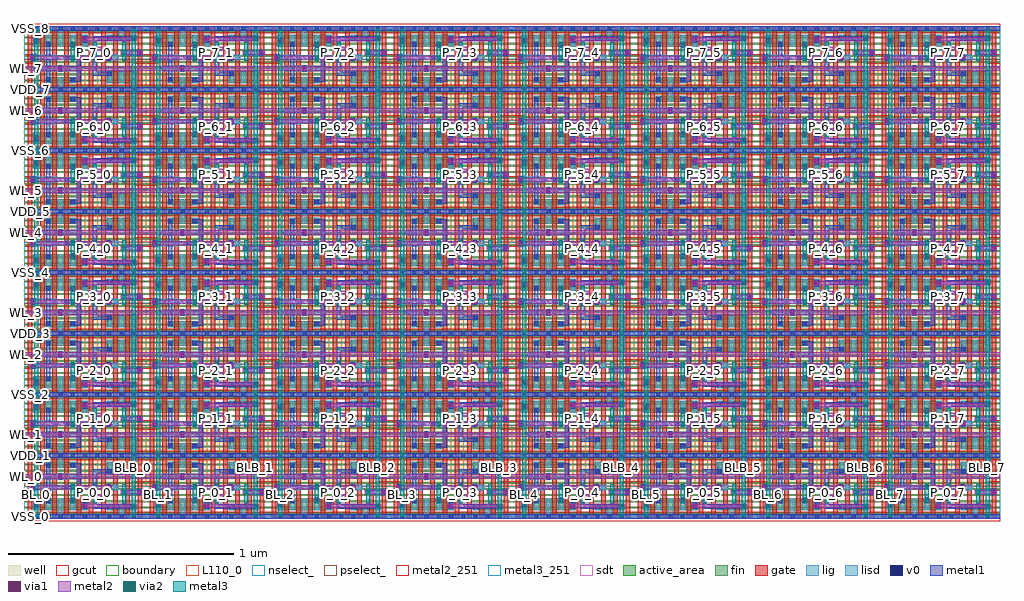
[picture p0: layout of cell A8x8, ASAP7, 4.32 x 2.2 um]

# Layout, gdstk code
from math import pi, radians
import gdstk
lib = gdstk.Library(unit=1e-6, precision=2.5e-10)
def R(c, l, rs):  # rectangles x0, y0, x1, y1
    for r in rs: c.add(gdstk.rectangle(r[:2], r[2:], *l))
def A(c, l, x, y, w, h, nx, ny, dx, dy):  # array of equal rectangles
    R(c, l, [(x+i*dx, y+j*dy, x+i*dx+w, y+j*dy+h) for i in range(nx) for j in range(ny)])
well = (1, 0)
fin = (2, 0)
gate = (7, 0)
gcut = (10, 0)
active_area = (11, 0)
nselect_ = (12, 0)
pselect_ = (13, 0)
lig = (16, 0)
lisd = (17, 0)
v0 = (18, 0)
metal1 = (19, 0)
metal2 = (20, 0)
metal2_251 = (20, 251)
via1 = (21, 0)
via2 = (25, 0)
metal3 = (30, 0)
metal3_251 = (30, 251)
sdt = (88, 0)
boundary = (100, 0)
L110_0 = (110, 0)

via = lib.new_cell('via')
R(via, lig, [(-0.01,-0.011,0.01,0.011)])
R(via, v0, [(-0.009,-0.009,0.009,0.009)])
R(via, metal1, [(-0.009,-0.011,0.009,0.011)])

via_1 = lib.new_cell('via$1')
R(via_1, lisd, [(-0.012,-0.009,0.012,0.009)])
R(via_1, v0, [(-0.009,-0.009,0.009,0.009)])
R(via_1, metal1, [(-0.009,-0.011,0.009,0.011)])

via_2 = lib.new_cell('via$2')
R(via_2, lisd, [(-0.012,-0.009,0.012,0.009)])
R(via_2, v0, [(-0.009,-0.009,0.009,0.009)])
R(via_2, metal1, [(-0.009,-0.014,0.009,0.014), (-0.009,-0.011,0.009,0.011)])
R(via_2, metal2, [(-0.014,-0.009,0.014,0.009)])
R(via_2, via1, [(-0.009,-0.009,0.009,0.009)])

via_4 = lib.new_cell('via$4')
R(via_4, metal1, [(-0.009,-0.014,0.009,0.014)])
R(via_4, metal2, [(-0.014,-0.009,0.014,0.009)])
R(via_4, via1, [(-0.009,-0.009,0.009,0.009)])

via_5 = lib.new_cell('via$5')
R(via_5, metal2, [(-0.014,-0.009,0.014,0.009)])
R(via_5, via2, [(-0.009,-0.009,0.009,0.009)])
R(via_5, metal3, [(-0.009,-0.014,0.009,0.014)])

via_6 = lib.new_cell('via$6')
R(via_6, lisd, [(-0.012,-0.009,0.012,0.009)])
R(via_6, v0, [(-0.009,-0.009,0.009,0.009)])
R(via_6, metal1, [(-0.009,-0.014,0.009,0.014), (-0.009,-0.011,0.009,0.011)])
R(via_6, metal2, [(-0.014,-0.009,0.014,0.009), (-0.014,-0.009,0.014,0.009)])
R(via_6, via1, [(-0.009,-0.009,0.009,0.009)])
R(via_6, via2, [(-0.009,-0.009,0.009,0.009)])
R(via_6, metal3, [(-0.009,-0.014,0.009,0.014)])

via_7 = lib.new_cell('via$7')
R(via_7, metal1, [(-0.009,-0.014,0.009,0.014)])
R(via_7, metal2, [(-0.014,-0.009,0.014,0.009), (-0.014,-0.009,0.014,0.009)])
R(via_7, via1, [(-0.009,-0.009,0.009,0.009)])
R(via_7, via2, [(-0.009,-0.009,0.009,0.009)])
R(via_7, metal3, [(-0.009,-0.014,0.009,0.014)])

nmos = lib.new_cell('nmos')
R(nmos, fin, [(0,0.037,0.162,0.044), (0,0.064,0.162,0.071)])
R(nmos, gate, [(0.071,-0.005,0.091,0.135)])
R(nmos, active_area, [(0.042,0.027,0.12,0.081)])
R(nmos, nselect_, [(0,0,0.162,0.135)])
R(nmos, lisd, [(0.042,0.027,0.066,0.081), (0.096,0.027,0.12,0.081)])
R(nmos, sdt, [(0.042,0.027,0.066,0.081), (0.096,0.027,0.12,0.081)])
R(nmos, L110_0, [(0,0,0.162,0.135)])

pmos = lib.new_cell('pmos')
R(pmos, well, [(0,0.135,0.162,0.27)])
R(pmos, fin, [(0,0.226,0.162,0.233)])
R(pmos, gate, [(0.071,0.135,0.091,0.275), (0.125,0.135,0.145,0.275)])
R(pmos, active_area, [(0.042,0.216,0.116,0.243)])
R(pmos, pselect_, [(0,0.135,0.162,0.27)])
R(pmos, lisd, [(0.042,0.216,0.066,0.243), (0.096,0.216,0.12,0.243)])
R(pmos, sdt, [(0.042,0.216,0.066,0.243), (0.096,0.216,0.12,0.243)])
R(pmos, L110_0, [(0,0.135,0.162,0.27)])

nmos_7 = lib.new_cell('nmos$7')
R(nmos_7, fin, [(0,0.037,0.162,0.044), (0,0.064,0.162,0.071)])
R(nmos_7, gate, [(0.017,-0.005,0.037,0.135), (0.071,-0.005,0.091,0.135)])
R(nmos_7, active_area, [(0.046,0.027,0.12,0.081)])
R(nmos_7, nselect_, [(0,0,0.162,0.135)])
R(nmos_7, lisd, [(0.042,0.027,0.066,0.081), (0.096,0.027,0.12,0.081)])
R(nmos_7, sdt, [(0.042,0.027,0.066,0.081), (0.096,0.027,0.12,0.081)])
R(nmos_7, L110_0, [(0,0,0.162,0.135)])

nmos_8 = lib.new_cell('nmos$8')
R(nmos_8, fin, [(0,0.037,0.162,0.044), (0,0.064,0.162,0.071)])
R(nmos_8, gate, [(0.071,-0.005,0.091,0.135), (0.125,-0.005,0.145,0.135)])
R(nmos_8, active_area, [(0.042,0.027,0.116,0.081)])
R(nmos_8, nselect_, [(0,0,0.162,0.135)])
R(nmos_8, lisd, [(0.042,0.027,0.066,0.081), (0.096,0.027,0.12,0.081)])
R(nmos_8, sdt, [(0.042,0.027,0.066,0.081), (0.096,0.027,0.12,0.081)])
R(nmos_8, L110_0, [(0,0,0.162,0.135)])

nmos_9 = lib.new_cell('nmos$9')
R(nmos_9, fin, [(0,0.037,0.162,0.044)])
R(nmos_9, gate, [(0.071,-0.005,0.091,0.135), (0.125,-0.005,0.145,0.135)])
R(nmos_9, active_area, [(0.042,0.027,0.116,0.054)])
R(nmos_9, nselect_, [(0,0,0.162,0.135)])
R(nmos_9, lisd, [(0.042,0.027,0.066,0.054), (0.096,0.027,0.12,0.054)])
R(nmos_9, sdt, [(0.042,0.027,0.066,0.054), (0.096,0.027,0.12,0.054)])
R(nmos_9, L110_0, [(0,0,0.162,0.135)])

pmos_6 = lib.new_cell('pmos$6')
R(pmos_6, well, [(0,0.135,0.162,0.27)])
R(pmos_6, fin, [(0,0.199,0.162,0.206), (0,0.226,0.162,0.233)])
R(pmos_6, gate, [(0.071,0.135,0.091,0.275), (0.125,0.135,0.145,0.275)])
R(pmos_6, active_area, [(0.042,0.189,0.116,0.243)])
R(pmos_6, pselect_, [(0,0.135,0.162,0.27)])
R(pmos_6, lisd, [(0.042,0.189,0.066,0.243), (0.096,0.189,0.12,0.243)])
R(pmos_6, sdt, [(0.042,0.189,0.066,0.243), (0.096,0.189,0.12,0.243)])
R(pmos_6, L110_0, [(0,0.135,0.162,0.27)])

pmos_7 = lib.new_cell('pmos$7')
R(pmos_7, well, [(0,0.135,0.162,0.27)])
R(pmos_7, fin, [(0,0.199,0.162,0.206), (0,0.226,0.162,0.233)])
R(pmos_7, gate, [(0.017,0.135,0.037,0.275), (0.071,0.135,0.091,0.275)])
R(pmos_7, active_area, [(0.046,0.189,0.12,0.243)])
R(pmos_7, pselect_, [(0,0.135,0.162,0.27)])
R(pmos_7, lisd, [(0.042,0.189,0.066,0.243), (0.096,0.189,0.12,0.243)])
R(pmos_7, sdt, [(0.042,0.189,0.066,0.243), (0.096,0.189,0.12,0.243)])
R(pmos_7, L110_0, [(0,0.135,0.162,0.27)])

sramcimsbc = lib.new_cell('SRAMCIMsbc')
R(sramcimsbc, well, [(0,0.135,0.54,0.27)])
A(sramcimsbc, fin, 0, 0.01, 0.54, 0.007, 1, 10, 0, 0.027)
R(sramcimsbc, gate, [(0.017,-0.005,0.037,0.275), (0.503,-0.005,0.523,0.275), (0.287,0.135,0.307,0.275)])
R(sramcimsbc, gcut, [(0,-0.022,0.54,0.022), (0,0.113,0.054,0.157), (0.486,0.113,0.54,0.157), (0,0.248,0.54,0.292)])
R(sramcimsbc, nselect_, [(0,0,0.54,0.135)])
R(sramcimsbc, pselect_, [(0,0.135,0.54,0.27)])
R(sramcimsbc, lig, [(0,-0.008,0.54,0.008), (0.448,0.097,0.47,0.119), (0.124,0.118,0.146,0.14), (0.178,0.118,0.2,0.14), (0.394,0.118,0.416,0.14), (0.07,0.166,0.092,0.188), (0.232,0.166,0.254,0.188), (0,0.262,0.54,0.278)])
R(sramcimsbc, lisd, [(0.366,0.054,0.39,0.055), (0.474,0.054,0.498,0.055), (0.447,0.096,0.525,0.12), (0.027,0.117,0.147,0.141), (0.361,0.117,0.417,0.141), (0.069,0.165,0.255,0.189), (0.204,0.215,0.228,0.216)])
A(sramcimsbc, v0, 0.045, -0.009, 0.018, 0.018, 9, 2, 0.054, 0.27)
R(sramcimsbc, metal1, [(0,-0.009,0.54,0.009), (0,0.261,0.54,0.279)])
R(sramcimsbc, metal2, [(0.284,0.08,0.342,0.098)])
R(sramcimsbc, metal2_251, [(0,0.168,0.54,0.186)])
R(sramcimsbc, metal3_251, [(0.045,0,0.063,0.27), (0.477,0,0.495,0.27), (0.304,0.058,0.322,0.143), (0.434,0.058,0.452,0.143)])
R(sramcimsbc, boundary, [(0,0,0.54,0.27)])
sramcimsbc.add(gdstk.FlexPath([(0.108,0.214),(0.108,0.081)], 0.018, ends="flush", simple_path=True, layer=19, datatype=0))  # metal1
sramcimsbc.add(gdstk.FlexPath([(0.178,0.129),(0.117,0.129)], 0.018, ends="flush", simple_path=True, layer=19, datatype=0))  # metal1
sramcimsbc.add(gdstk.FlexPath([(0.367,0.043),(0.313,0.043),(0.313,0.201),(0.367,0.201)], 0.018, ends="flush", simple_path=True, layer=19, datatype=0))  # metal1
sramcimsbc.add(gdstk.FlexPath([(0.475,0.043),(0.389,0.043)], 0.018, ends="flush", simple_path=True, layer=19, datatype=0))  # metal1
sramcimsbc.add(gdstk.FlexPath([(0.227,0.227),(0.243,0.227),(0.243,0.143)], 0.018, ends="flush", simple_path=True, layer=19, datatype=0))  # metal1
sramcimsbc.add(gdstk.FlexPath([(0.257,0.129),(0.361,0.129)], 0.018, ends="flush", simple_path=True, layer=20, datatype=0))  # metal2
sramcimsbc.add(gdstk.FlexPath([(0.147,0.177),(0,0.177)], 0.018, ends="flush", simple_path=True, layer=20, datatype=0))  # metal2
sramcimsbc.add(gdstk.FlexPath([(0.175,0.177),(0.54,0.177)], 0.018, ends="flush", simple_path=True, layer=20, datatype=0))  # metal2
sramcimsbc.add(gdstk.FlexPath([(0.284,0.048),(0.486,0.048)], 0.018, ends="flush", simple_path=True, layer=20, datatype=0))  # metal2
sramcimsbc.add(gdstk.FlexPath([(0.497,0.108),(0.439,0.108)], 0.018, ends="flush", simple_path=True, layer=20, datatype=0))  # metal2
sramcimsbc.add(gdstk.FlexPath([(0.055,0.129),(0.202,0.129)], 0.018, ends="flush", simple_path=True, layer=20, datatype=0))  # metal2
sramcimsbc.add(gdstk.FlexPath([(0.054,0.068),(0.054,0.27)], 0.018, ends="flush", simple_path=True, layer=30, datatype=0))  # metal3
sramcimsbc.add(gdstk.FlexPath([(0.054,0.04),(0.054,0)], 0.018, ends="flush", simple_path=True, layer=30, datatype=0))  # metal3
sramcimsbc.add(gdstk.FlexPath([(0.486,0.04),(0.486,0)], 0.018, ends="flush", simple_path=True, layer=30, datatype=0))  # metal3
sramcimsbc.add(gdstk.FlexPath([(0.486,0.05),(0.486,0.27)], 0.018, ends="flush", simple_path=True, layer=30, datatype=0))  # metal3
sramcimsbc.add(gdstk.FlexPath([(0.216,0.115),(0.216,0.086)], 0.018, ends="flush", simple_path=True, layer=30, datatype=0))  # metal3
sramcimsbc.add(gdstk.FlexPath([(0.443,0.143),(0.443,0.058)], 0.018, ends="flush", simple_path=True, layer=30, datatype=0))  # metal3
sramcimsbc.add(gdstk.FlexPath([(0.313,0.143),(0.313,0.058)], 0.018, ends="flush", simple_path=True, layer=30, datatype=0))  # metal3
sramcimsbc.add(gdstk.FlexPath([(0.162,0.027),(0.162,-0.009)], 0.024, ends="flush", simple_path=True, layer=17, datatype=0))  # lisd
sramcimsbc.add(gdstk.FlexPath([(0.432,0.027),(0.432,-0.009)], 0.024, ends="flush", simple_path=True, layer=17, datatype=0))  # lisd
sramcimsbc.add(gdstk.FlexPath([(0.486,0.243),(0.486,0.279)], 0.024, ends="flush", simple_path=True, layer=17, datatype=0))  # lisd
sramcimsbc.add(gdstk.FlexPath([(0.162,0.243),(0.162,0.279)], 0.024, ends="flush", simple_path=True, layer=17, datatype=0))  # lisd
sramcimsbc.add(gdstk.Reference(via, (0.189,0.129), rotation=pi/2))
sramcimsbc.add(gdstk.Reference(via_1, (0.108,0.225)))
sramcimsbc.add(gdstk.Reference(via_1, (0.108,0.07)))
sramcimsbc.add(gdstk.Reference(via_2, (0.041,0.129)))
sramcimsbc.add(gdstk.Reference(via_2, (0.375,0.129)))
sramcimsbc.add(gdstk.Reference(via_1, (0.378,0.201), rotation=pi/2))
sramcimsbc.add(gdstk.Reference(via_1, (0.378,0.043), rotation=pi/2))
sramcimsbc.add(gdstk.Reference(via_1, (0.486,0.043), rotation=pi/2))
sramcimsbc.add(gdstk.Reference(via_4, (0.243,0.129)))
sramcimsbc.add(gdstk.Reference(via_1, (0.216,0.227), rotation=pi/2))
sramcimsbc.add(gdstk.Reference(via_2, (0.161,0.177)))
sramcimsbc.add(gdstk.Reference(via_2, (0.27,0.048)))
sramcimsbc.add(gdstk.Reference(via_5, (0.486,0.048)))
sramcimsbc.add(gdstk.Reference(via_6, (0.054,0.054)))
sramcimsbc.add(gdstk.Reference(via_6, (0.216,0.072)))
sramcimsbc.add(gdstk.Reference(via_5, (0.216,0.129)))
sramcimsbc.add(gdstk.Reference(via_2, (0.511,0.108)))
sramcimsbc.add(gdstk.Reference(via_5, (0.443,0.108)))
sramcimsbc.add(gdstk.Reference(via_7, (0.313,0.089)))
sramcimsbc.add(gdstk.Reference(nmos, (0.108,0)))
sramcimsbc.add(gdstk.Reference(nmos, (0.216,0), rotation=pi, x_reflection=True))
sramcimsbc.add(gdstk.Reference(pmos, (0.108,0)))
sramcimsbc.add(gdstk.Reference(pmos, (0.216,0), rotation=pi, x_reflection=True))
sramcimsbc.add(gdstk.Reference(nmos_7, (0,0)))
sramcimsbc.add(gdstk.Reference(nmos_8, (0.162,0)))
sramcimsbc.add(gdstk.Reference(nmos_9, (0.486,0), rotation=pi, x_reflection=True))
sramcimsbc.add(gdstk.Reference(nmos_9, (0.378,0)))
sramcimsbc.add(gdstk.Reference(pmos_6, (0.486,0), rotation=pi, x_reflection=True))
sramcimsbc.add(gdstk.Reference(pmos_7, (0.54,0), rotation=pi, x_reflection=True))
sramcimsbc.add(gdstk.Label('WL', (0.009,0.177), layer=20, texttype=251))
sramcimsbc.add(gdstk.Label('BL', (0.054,0.096), layer=30, texttype=251))
sramcimsbc.add(gdstk.Label('BL_Bar', (0.486,0.219), layer=30, texttype=251))
sramcimsbc.add(gdstk.Label('P', (0.313,0.108), layer=30, texttype=251))
sramcimsbc.add(gdstk.Label('XB', (0.443,0.086), layer=30, texttype=251))
sramcimsbc.add(gdstk.Label('VSS', (0.03,0), layer=19, texttype=251))
sramcimsbc.add(gdstk.Label('VDD', (0.03,0.27), layer=19, texttype=251))

a8x8 = lib.new_cell('A8x8')
a8x8.add(gdstk.Reference(sramcimsbc, (0,0)))
a8x8.add(gdstk.Reference(sramcimsbc, (0.54,0)))
a8x8.add(gdstk.Reference(sramcimsbc, (1.08,0)))
a8x8.add(gdstk.Reference(sramcimsbc, (1.62,0)))
a8x8.add(gdstk.Reference(sramcimsbc, (2.16,0)))
a8x8.add(gdstk.Reference(sramcimsbc, (2.7,0)))
a8x8.add(gdstk.Reference(sramcimsbc, (3.24,0)))
a8x8.add(gdstk.Reference(sramcimsbc, (3.78,0)))
a8x8.add(gdstk.Reference(sramcimsbc, (0,0.54), x_reflection=True))
a8x8.add(gdstk.Reference(sramcimsbc, (0.54,0.54), x_reflection=True))
a8x8.add(gdstk.Reference(sramcimsbc, (1.08,0.54), x_reflection=True))
a8x8.add(gdstk.Reference(sramcimsbc, (1.62,0.54), x_reflection=True))
a8x8.add(gdstk.Reference(sramcimsbc, (2.16,0.54), x_reflection=True))
a8x8.add(gdstk.Reference(sramcimsbc, (2.7,0.54), x_reflection=True))
a8x8.add(gdstk.Reference(sramcimsbc, (3.24,0.54), x_reflection=True))
a8x8.add(gdstk.Reference(sramcimsbc, (3.78,0.54), x_reflection=True))
a8x8.add(gdstk.Reference(sramcimsbc, (0,0.54)))
a8x8.add(gdstk.Reference(sramcimsbc, (0.54,0.54)))
a8x8.add(gdstk.Reference(sramcimsbc, (1.08,0.54)))
a8x8.add(gdstk.Reference(sramcimsbc, (1.62,0.54)))
a8x8.add(gdstk.Reference(sramcimsbc, (2.16,0.54)))
a8x8.add(gdstk.Reference(sramcimsbc, (2.7,0.54)))
a8x8.add(gdstk.Reference(sramcimsbc, (3.24,0.54)))
a8x8.add(gdstk.Reference(sramcimsbc, (3.78,0.54)))
a8x8.add(gdstk.Reference(sramcimsbc, (0,1.08), x_reflection=True))
a8x8.add(gdstk.Reference(sramcimsbc, (0.54,1.08), x_reflection=True))
a8x8.add(gdstk.Reference(sramcimsbc, (1.08,1.08), x_reflection=True))
a8x8.add(gdstk.Reference(sramcimsbc, (1.62,1.08), x_reflection=True))
a8x8.add(gdstk.Reference(sramcimsbc, (2.16,1.08), x_reflection=True))
a8x8.add(gdstk.Reference(sramcimsbc, (2.7,1.08), x_reflection=True))
a8x8.add(gdstk.Reference(sramcimsbc, (3.24,1.08), x_reflection=True))
a8x8.add(gdstk.Reference(sramcimsbc, (3.78,1.08), x_reflection=True))
a8x8.add(gdstk.Reference(sramcimsbc, (0,1.08)))
a8x8.add(gdstk.Reference(sramcimsbc, (0.54,1.08)))
a8x8.add(gdstk.Reference(sramcimsbc, (1.08,1.08)))
a8x8.add(gdstk.Reference(sramcimsbc, (1.62,1.08)))
a8x8.add(gdstk.Reference(sramcimsbc, (2.16,1.08)))
a8x8.add(gdstk.Reference(sramcimsbc, (2.7,1.08)))
a8x8.add(gdstk.Reference(sramcimsbc, (3.24,1.08)))
a8x8.add(gdstk.Reference(sramcimsbc, (3.78,1.08)))
a8x8.add(gdstk.Reference(sramcimsbc, (0,1.62), x_reflection=True))
a8x8.add(gdstk.Reference(sramcimsbc, (0.54,1.62), x_reflection=True))
a8x8.add(gdstk.Reference(sramcimsbc, (1.08,1.62), x_reflection=True))
a8x8.add(gdstk.Reference(sramcimsbc, (1.62,1.62), x_reflection=True))
a8x8.add(gdstk.Reference(sramcimsbc, (2.16,1.62), x_reflection=True))
a8x8.add(gdstk.Reference(sramcimsbc, (2.7,1.62), x_reflection=True))
a8x8.add(gdstk.Reference(sramcimsbc, (3.24,1.62), x_reflection=True))
a8x8.add(gdstk.Reference(sramcimsbc, (3.78,1.62), x_reflection=True))
a8x8.add(gdstk.Reference(sramcimsbc, (0,1.62)))
a8x8.add(gdstk.Reference(sramcimsbc, (0.54,1.62)))
a8x8.add(gdstk.Reference(sramcimsbc, (1.08,1.62)))
a8x8.add(gdstk.Reference(sramcimsbc, (1.62,1.62)))
a8x8.add(gdstk.Reference(sramcimsbc, (2.16,1.62)))
a8x8.add(gdstk.Reference(sramcimsbc, (2.7,1.62)))
a8x8.add(gdstk.Reference(sramcimsbc, (3.24,1.62)))
a8x8.add(gdstk.Reference(sramcimsbc, (3.78,1.62)))
a8x8.add(gdstk.Reference(sramcimsbc, (0,2.16), x_reflection=True))
a8x8.add(gdstk.Reference(sramcimsbc, (0.54,2.16), x_reflection=True))
a8x8.add(gdstk.Reference(sramcimsbc, (1.08,2.16), x_reflection=True))
a8x8.add(gdstk.Reference(sramcimsbc, (1.62,2.16), x_reflection=True))
a8x8.add(gdstk.Reference(sramcimsbc, (2.16,2.16), x_reflection=True))
a8x8.add(gdstk.Reference(sramcimsbc, (2.7,2.16), x_reflection=True))
a8x8.add(gdstk.Reference(sramcimsbc, (3.24,2.16), x_reflection=True))
a8x8.add(gdstk.Reference(sramcimsbc, (3.78,2.16), x_reflection=True))
a8x8.add(gdstk.Label('WL_0', (0.009,0.177), layer=20, texttype=251))
a8x8.add(gdstk.Label('WL_1', (0.009,0.363), layer=20, texttype=251))
a8x8.add(gdstk.Label('WL_2', (0.009,0.717), layer=20, texttype=251))
a8x8.add(gdstk.Label('WL_3', (0.009,0.903), layer=20, texttype=251))
a8x8.add(gdstk.Label('WL_4', (0.009,1.257), layer=20, texttype=251))
a8x8.add(gdstk.Label('WL_5', (0.009,1.443), layer=20, texttype=251))
a8x8.add(gdstk.Label('WL_6', (0.009,1.797), layer=20, texttype=251))
a8x8.add(gdstk.Label('WL_7', (0.009,1.983), layer=20, texttype=251))
a8x8.add(gdstk.Label('P_4_4', (2.473,1.188), layer=30, texttype=251))
a8x8.add(gdstk.Label('XB_4_4', (2.603,1.166), layer=30, texttype=251))
a8x8.add(gdstk.Label('P_4_5', (3.013,1.188), layer=30, texttype=251))
a8x8.add(gdstk.Label('XB_4_5', (3.143,1.166), layer=30, texttype=251))
a8x8.add(gdstk.Label('P_4_6', (3.553,1.188), layer=30, texttype=251))
a8x8.add(gdstk.Label('XB_4_6', (3.683,1.166), layer=30, texttype=251))
a8x8.add(gdstk.Label('P_4_7', (4.093,1.188), layer=30, texttype=251))
a8x8.add(gdstk.Label('XB_4_7', (4.223,1.166), layer=30, texttype=251))
a8x8.add(gdstk.Label('P_5_4', (2.473,1.512), layer=30, texttype=251))
a8x8.add(gdstk.Label('XB_5_4', (2.603,1.534), layer=30, texttype=251))
a8x8.add(gdstk.Label('P_5_5', (3.013,1.512), layer=30, texttype=251))
a8x8.add(gdstk.Label('XB_5_5', (3.143,1.534), layer=30, texttype=251))
a8x8.add(gdstk.Label('P_5_6', (3.553,1.512), layer=30, texttype=251))
a8x8.add(gdstk.Label('XB_5_6', (3.683,1.534), layer=30, texttype=251))
a8x8.add(gdstk.Label('P_5_7', (4.093,1.512), layer=30, texttype=251))
a8x8.add(gdstk.Label('XB_5_7', (4.223,1.534), layer=30, texttype=251))
a8x8.add(gdstk.Label('P_6_4', (2.473,1.728), layer=30, texttype=251))
a8x8.add(gdstk.Label('XB_6_4', (2.603,1.706), layer=30, texttype=251))
a8x8.add(gdstk.Label('P_6_5', (3.013,1.728), layer=30, texttype=251))
a8x8.add(gdstk.Label('XB_6_5', (3.143,1.706), layer=30, texttype=251))
a8x8.add(gdstk.Label('P_6_6', (3.553,1.728), layer=30, texttype=251))
a8x8.add(gdstk.Label('XB_6_6', (3.683,1.706), layer=30, texttype=251))
a8x8.add(gdstk.Label('P_6_7', (4.093,1.728), layer=30, texttype=251))
a8x8.add(gdstk.Label('XB_6_7', (4.223,1.706), layer=30, texttype=251))
a8x8.add(gdstk.Label('P_7_4', (2.473,2.052), layer=30, texttype=251))
a8x8.add(gdstk.Label('XB_7_4', (2.603,2.074), layer=30, texttype=251))
a8x8.add(gdstk.Label('P_7_5', (3.013,2.052), layer=30, texttype=251))
a8x8.add(gdstk.Label('XB_7_5', (3.143,2.074), layer=30, texttype=251))
a8x8.add(gdstk.Label('P_7_6', (3.553,2.052), layer=30, texttype=251))
a8x8.add(gdstk.Label('XB_7_6', (3.683,2.074), layer=30, texttype=251))
a8x8.add(gdstk.Label('P_7_7', (4.093,2.052), layer=30, texttype=251))
a8x8.add(gdstk.Label('XB_7_7', (4.223,2.074), layer=30, texttype=251))
a8x8.add(gdstk.Label('P_6_0', (0.313,1.728), layer=30, texttype=251))
a8x8.add(gdstk.Label('XB_6_0', (0.443,1.706), layer=30, texttype=251))
a8x8.add(gdstk.Label('P_6_1', (0.853,1.728), layer=30, texttype=251))
a8x8.add(gdstk.Label('XB_6_1', (0.983,1.706), layer=30, texttype=251))
a8x8.add(gdstk.Label('P_6_2', (1.393,1.728), layer=30, texttype=251))
a8x8.add(gdstk.Label('XB_6_2', (1.523,1.706), layer=30, texttype=251))
a8x8.add(gdstk.Label('P_6_3', (1.933,1.728), layer=30, texttype=251))
a8x8.add(gdstk.Label('XB_6_3', (2.063,1.706), layer=30, texttype=251))
a8x8.add(gdstk.Label('P_5_0', (0.313,1.512), layer=30, texttype=251))
a8x8.add(gdstk.Label('XB_5_0', (0.443,1.534), layer=30, texttype=251))
a8x8.add(gdstk.Label('P_5_1', (0.853,1.512), layer=30, texttype=251))
a8x8.add(gdstk.Label('XB_5_1', (0.983,1.534), layer=30, texttype=251))
a8x8.add(gdstk.Label('P_5_2', (1.393,1.512), layer=30, texttype=251))
a8x8.add(gdstk.Label('XB_5_2', (1.523,1.534), layer=30, texttype=251))
a8x8.add(gdstk.Label('P_5_3', (1.933,1.512), layer=30, texttype=251))
a8x8.add(gdstk.Label('XB_5_3', (2.063,1.534), layer=30, texttype=251))
a8x8.add(gdstk.Label('P_7_0', (0.313,2.052), layer=30, texttype=251))
a8x8.add(gdstk.Label('XB_7_0', (0.443,2.074), layer=30, texttype=251))
a8x8.add(gdstk.Label('P_7_1', (0.853,2.052), layer=30, texttype=251))
a8x8.add(gdstk.Label('XB_7_1', (0.983,2.074), layer=30, texttype=251))
a8x8.add(gdstk.Label('P_7_2', (1.393,2.052), layer=30, texttype=251))
a8x8.add(gdstk.Label('XB_7_2', (1.523,2.074), layer=30, texttype=251))
a8x8.add(gdstk.Label('P_7_3', (1.933,2.052), layer=30, texttype=251))
a8x8.add(gdstk.Label('XB_7_3', (2.063,2.074), layer=30, texttype=251))
a8x8.add(gdstk.Label('P_4_0', (0.313,1.188), layer=30, texttype=251))
a8x8.add(gdstk.Label('XB_4_0', (0.443,1.166), layer=30, texttype=251))
a8x8.add(gdstk.Label('P_4_1', (0.853,1.188), layer=30, texttype=251))
a8x8.add(gdstk.Label('XB_4_1', (0.983,1.166), layer=30, texttype=251))
a8x8.add(gdstk.Label('P_4_2', (1.393,1.188), layer=30, texttype=251))
a8x8.add(gdstk.Label('XB_4_2', (1.523,1.166), layer=30, texttype=251))
a8x8.add(gdstk.Label('P_4_3', (1.933,1.188), layer=30, texttype=251))
a8x8.add(gdstk.Label('XB_4_3', (2.063,1.166), layer=30, texttype=251))
a8x8.add(gdstk.Label('P_2_0', (0.313,0.648), layer=30, texttype=251))
a8x8.add(gdstk.Label('XB_2_0', (0.443,0.626), layer=30, texttype=251))
a8x8.add(gdstk.Label('P_2_1', (0.853,0.648), layer=30, texttype=251))
a8x8.add(gdstk.Label('XB_2_1', (0.983,0.626), layer=30, texttype=251))
a8x8.add(gdstk.Label('P_2_2', (1.393,0.648), layer=30, texttype=251))
a8x8.add(gdstk.Label('XB_2_2', (1.523,0.626), layer=30, texttype=251))
a8x8.add(gdstk.Label('P_2_3', (1.933,0.648), layer=30, texttype=251))
a8x8.add(gdstk.Label('XB_2_3', (2.063,0.626), layer=30, texttype=251))
a8x8.add(gdstk.Label('P_3_0', (0.313,0.972), layer=30, texttype=251))
a8x8.add(gdstk.Label('XB_3_0', (0.443,0.994), layer=30, texttype=251))
a8x8.add(gdstk.Label('P_3_1', (0.853,0.972), layer=30, texttype=251))
a8x8.add(gdstk.Label('XB_3_1', (0.983,0.994), layer=30, texttype=251))
a8x8.add(gdstk.Label('P_3_2', (1.393,0.972), layer=30, texttype=251))
a8x8.add(gdstk.Label('XB_3_2', (1.523,0.994), layer=30, texttype=251))
a8x8.add(gdstk.Label('P_3_3', (1.933,0.972), layer=30, texttype=251))
a8x8.add(gdstk.Label('XB_3_3', (2.063,0.994), layer=30, texttype=251))
a8x8.add(gdstk.Label('BL_0', (0.054,0.096), layer=30, texttype=251))
a8x8.add(gdstk.Label('BLB_0', (0.486,0.219), layer=30, texttype=251))
a8x8.add(gdstk.Label('P_0_0', (0.313,0.108), layer=30, texttype=251))
a8x8.add(gdstk.Label('XB_0_0', (0.443,0.086), layer=30, texttype=251))
a8x8.add(gdstk.Label('BL_1', (0.594,0.096), layer=30, texttype=251))
a8x8.add(gdstk.Label('BLB_1', (1.026,0.219), layer=30, texttype=251))
a8x8.add(gdstk.Label('P_0_1', (0.853,0.108), layer=30, texttype=251))
a8x8.add(gdstk.Label('XB_0_1', (0.983,0.086), layer=30, texttype=251))
a8x8.add(gdstk.Label('BL_2', (1.134,0.096), layer=30, texttype=251))
a8x8.add(gdstk.Label('BLB_2', (1.566,0.219), layer=30, texttype=251))
a8x8.add(gdstk.Label('P_0_2', (1.393,0.108), layer=30, texttype=251))
a8x8.add(gdstk.Label('XB_0_2', (1.523,0.086), layer=30, texttype=251))
a8x8.add(gdstk.Label('BL_3', (1.674,0.096), layer=30, texttype=251))
a8x8.add(gdstk.Label('BLB_3', (2.106,0.219), layer=30, texttype=251))
a8x8.add(gdstk.Label('P_0_3', (1.933,0.108), layer=30, texttype=251))
a8x8.add(gdstk.Label('XB_0_3', (2.063,0.086), layer=30, texttype=251))
a8x8.add(gdstk.Label('P_1_0', (0.313,0.432), layer=30, texttype=251))
a8x8.add(gdstk.Label('XB_1_0', (0.443,0.454), layer=30, texttype=251))
a8x8.add(gdstk.Label('P_1_1', (0.853,0.432), layer=30, texttype=251))
a8x8.add(gdstk.Label('XB_1_1', (0.983,0.454), layer=30, texttype=251))
a8x8.add(gdstk.Label('P_1_2', (1.393,0.432), layer=30, texttype=251))
a8x8.add(gdstk.Label('XB_1_2', (1.523,0.454), layer=30, texttype=251))
a8x8.add(gdstk.Label('P_1_3', (1.933,0.432), layer=30, texttype=251))
a8x8.add(gdstk.Label('XB_1_3', (2.063,0.454), layer=30, texttype=251))
a8x8.add(gdstk.Label('BL_4', (2.214,0.096), layer=30, texttype=251))
a8x8.add(gdstk.Label('BLB_4', (2.646,0.219), layer=30, texttype=251))
a8x8.add(gdstk.Label('P_0_4', (2.473,0.108), layer=30, texttype=251))
a8x8.add(gdstk.Label('XB_0_4', (2.603,0.086), layer=30, texttype=251))
a8x8.add(gdstk.Label('BL_5', (2.754,0.096), layer=30, texttype=251))
a8x8.add(gdstk.Label('BLB_5', (3.186,0.219), layer=30, texttype=251))
a8x8.add(gdstk.Label('P_0_5', (3.013,0.108), layer=30, texttype=251))
a8x8.add(gdstk.Label('XB_0_5', (3.143,0.086), layer=30, texttype=251))
a8x8.add(gdstk.Label('P_3_4', (2.473,0.972), layer=30, texttype=251))
a8x8.add(gdstk.Label('XB_3_4', (2.603,0.994), layer=30, texttype=251))
a8x8.add(gdstk.Label('P_3_5', (3.013,0.972), layer=30, texttype=251))
a8x8.add(gdstk.Label('XB_3_5', (3.143,0.994), layer=30, texttype=251))
a8x8.add(gdstk.Label('P_3_6', (3.553,0.972), layer=30, texttype=251))
a8x8.add(gdstk.Label('XB_3_6', (3.683,0.994), layer=30, texttype=251))
a8x8.add(gdstk.Label('P_3_7', (4.093,0.972), layer=30, texttype=251))
a8x8.add(gdstk.Label('XB_3_7', (4.223,0.994), layer=30, texttype=251))
a8x8.add(gdstk.Label('P_1_4', (2.473,0.432), layer=30, texttype=251))
a8x8.add(gdstk.Label('XB_1_4', (2.603,0.454), layer=30, texttype=251))
a8x8.add(gdstk.Label('P_1_5', (3.013,0.432), layer=30, texttype=251))
a8x8.add(gdstk.Label('XB_1_5', (3.143,0.454), layer=30, texttype=251))
a8x8.add(gdstk.Label('P_1_6', (3.553,0.432), layer=30, texttype=251))
a8x8.add(gdstk.Label('XB_1_6', (3.683,0.454), layer=30, texttype=251))
a8x8.add(gdstk.Label('P_1_7', (4.093,0.432), layer=30, texttype=251))
a8x8.add(gdstk.Label('XB_1_7', (4.223,0.454), layer=30, texttype=251))
a8x8.add(gdstk.Label('BL_6', (3.294,0.096), layer=30, texttype=251))
a8x8.add(gdstk.Label('BLB_6', (3.726,0.219), layer=30, texttype=251))
a8x8.add(gdstk.Label('P_0_6', (3.553,0.108), layer=30, texttype=251))
a8x8.add(gdstk.Label('XB_0_6', (3.683,0.086), layer=30, texttype=251))
a8x8.add(gdstk.Label('BL_7', (3.834,0.096), layer=30, texttype=251))
a8x8.add(gdstk.Label('BLB_7', (4.266,0.219), layer=30, texttype=251))
a8x8.add(gdstk.Label('P_0_7', (4.093,0.108), layer=30, texttype=251))
a8x8.add(gdstk.Label('XB_0_7', (4.223,0.086), layer=30, texttype=251))
a8x8.add(gdstk.Label('P_2_4', (2.473,0.648), layer=30, texttype=251))
a8x8.add(gdstk.Label('XB_2_4', (2.603,0.626), layer=30, texttype=251))
a8x8.add(gdstk.Label('P_2_5', (3.013,0.648), layer=30, texttype=251))
a8x8.add(gdstk.Label('XB_2_5', (3.143,0.626), layer=30, texttype=251))
a8x8.add(gdstk.Label('P_2_6', (3.553,0.648), layer=30, texttype=251))
a8x8.add(gdstk.Label('XB_2_6', (3.683,0.626), layer=30, texttype=251))
a8x8.add(gdstk.Label('P_2_7', (4.093,0.648), layer=30, texttype=251))
a8x8.add(gdstk.Label('XB_2_7', (4.223,0.626), layer=30, texttype=251))
a8x8.add(gdstk.Label('VSS_0', (0.03,0), layer=19, texttype=251))
a8x8.add(gdstk.Label('VDD_1', (0.03,0.27), layer=19, texttype=251))
a8x8.add(gdstk.Label('VSS_2', (0.03,0.54), layer=19, texttype=251))
a8x8.add(gdstk.Label('VDD_1', (0.03,0.27), layer=19, texttype=251))
a8x8.add(gdstk.Label('VSS_2', (0.03,0.54), layer=19, texttype=251))
a8x8.add(gdstk.Label('VDD_3', (0.03,0.81), layer=19, texttype=251))
a8x8.add(gdstk.Label('VSS_4', (0.03,1.08), layer=19, texttype=251))
a8x8.add(gdstk.Label('VDD_3', (0.03,0.81), layer=19, texttype=251))
a8x8.add(gdstk.Label('VSS_4', (0.03,1.08), layer=19, texttype=251))
a8x8.add(gdstk.Label('VDD_5', (0.03,1.35), layer=19, texttype=251))
a8x8.add(gdstk.Label('VSS_6', (0.03,1.62), layer=19, texttype=251))
a8x8.add(gdstk.Label('VDD_5', (0.03,1.35), layer=19, texttype=251))
a8x8.add(gdstk.Label('VSS_6', (0.03,1.62), layer=19, texttype=251))
a8x8.add(gdstk.Label('VDD_7', (0.03,1.89), layer=19, texttype=251))
a8x8.add(gdstk.Label('VSS_8', (0.03,2.16), layer=19, texttype=251))
a8x8.add(gdstk.Label('VDD_7', (0.03,1.89), layer=19, texttype=251))

lib.write_gds('A8x8.gds')
